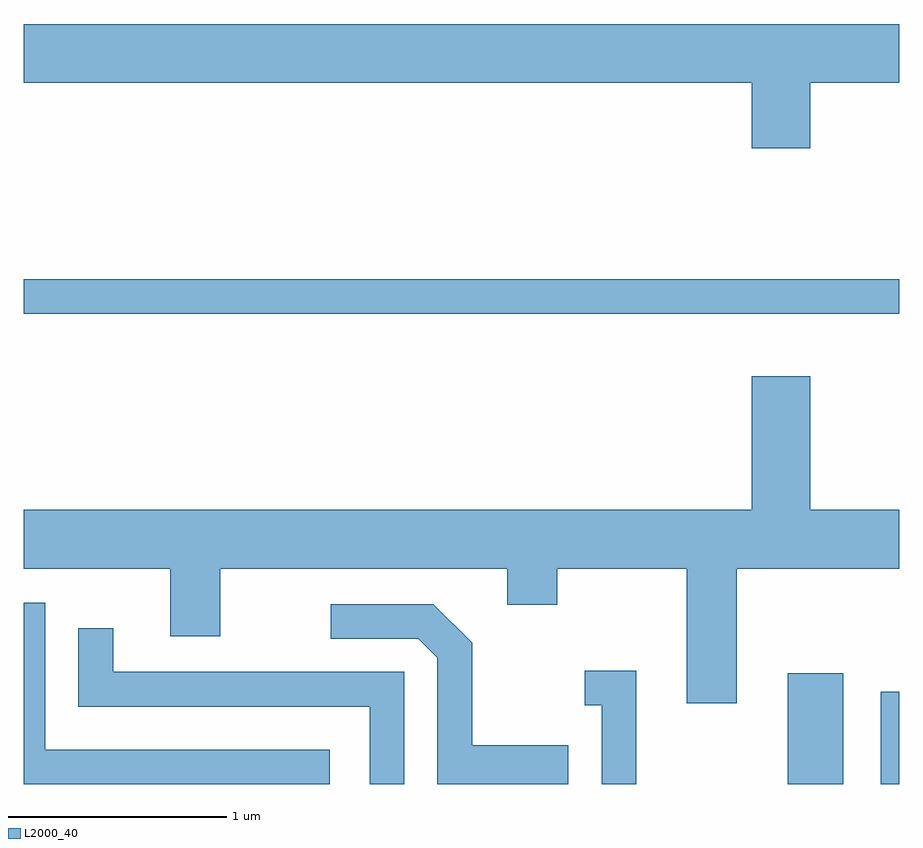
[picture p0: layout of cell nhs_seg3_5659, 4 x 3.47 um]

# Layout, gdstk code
import gdstk
lib = gdstk.Library(unit=1e-6, precision=1e-09)
def R(c, l, rs):  # rectangles x0, y0, x1, y1
    for r in rs: c.add(gdstk.rectangle(r[:2], r[2:], *l))
def P(c, l, *ps):  # polygons
    for p in ps: c.add(gdstk.Polygon(p, *l))
L2000_40 = (2000, 40)

nhs_seg3_5659 = lib.new_cell('nhs_seg3_5659')
R(nhs_seg3_5659, L2000_40, [(355.101,1153.892,355.354,1154.399), (355.526,1153.892,355.611,1154.314), (351.611,1156.041,355.611,1156.199)])
P(nhs_seg3_5659, L2000_40, [(355.204,1157.096),(355.611,1157.096),(355.611,1157.364),(351.611,1157.364),(351.611,1157.096),(354.936,1157.096),(354.936,1156.796),(355.204,1156.796)],
  [(354.869,1154.876),(355.611,1154.876),(355.611,1155.144),(355.204,1155.144),(355.204,1155.754),(354.936,1155.754),(354.936,1155.144),(351.611,1155.144),(351.611,1154.876),(352.281,1154.876),(352.281,1154.566),(352.509,1154.566),(352.509,1154.876),(353.821,1154.876),(353.821,1154.711),(354.049,1154.711),(354.049,1154.876),(354.641,1154.876),(354.641,1154.261),(354.869,1154.261)],
  [(353.009,1154.049),(351.709,1154.049),(351.709,1154.719),(351.611,1154.719),(351.611,1153.892),(353.009,1153.892)],
  [(354.099,1154.069),(353.659,1154.069),(353.659,1154.537),(353.482,1154.714),(353.013,1154.714),(353.013,1154.556),(353.414,1154.556),(353.501,1154.469),(353.501,1153.892),(354.099,1153.892)],
  [(353.349,1154.404),(352.019,1154.404),(352.019,1154.603),(351.861,1154.603),(351.861,1154.246),(353.191,1154.246),(353.191,1153.892),(353.349,1153.892)],
  [(354.409,1154.409),(354.173,1154.409),(354.173,1154.251),(354.251,1154.251),(354.251,1153.892),(354.409,1153.892)])

lib.write_gds('nhs_seg3_5659.gds')
